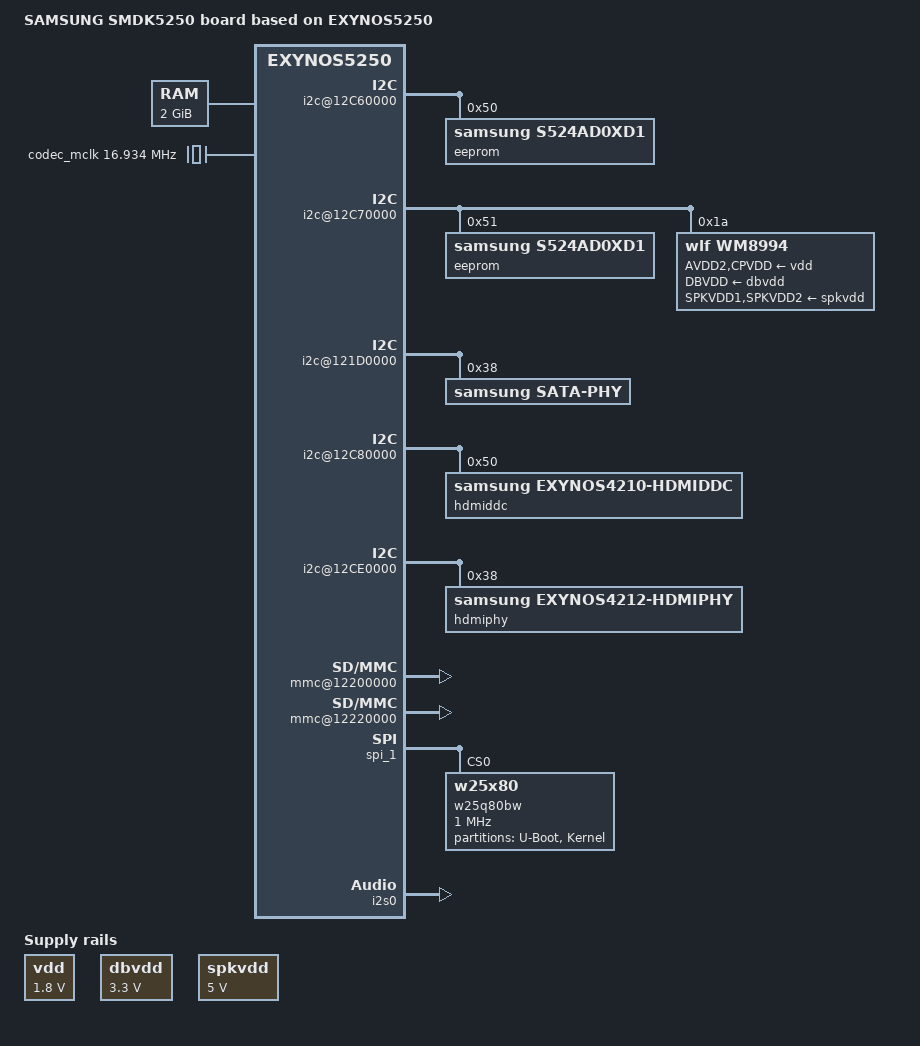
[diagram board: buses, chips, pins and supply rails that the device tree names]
/*
 * SAMSUNG SMDK5250 board device tree source
 *
 * Copyright (c) 2012 Samsung Electronics Co., Ltd.
 *		http://www.samsung.com
 *
 * This program is free software; you can redistribute it and/or modify
 * it under the terms of the GNU General Public License version 2 as
 * published by the Free Software Foundation.
*/

/dts-v1/;
#include "exynos5250.dtsi"

/ {
	model = "SAMSUNG SMDK5250 board based on EXYNOS5250";
	compatible = "samsung,smdk5250", "samsung,exynos5250";

	aliases {
	};

	memory {
		reg = <0x40000000 0x80000000>;
	};

	chosen {
		bootargs = "root=/dev/ram0 rw ramdisk=8192 initrd=0x41000000,8M console=ttySAC2,115200 init=/linuxrc";
	};

	i2c@12C60000 {
		samsung,i2c-sda-delay = <100>;
		samsung,i2c-max-bus-freq = <20000>;
		status = "okay";

		eeprom@50 {
			compatible = "samsung,s524ad0xd1";
			reg = <0x50>;
		};
	};

	vdd: fixed-regulator@0 {
		compatible = "regulator-fixed";
		regulator-name = "vdd-supply";
		regulator-min-microvolt = <1800000>;
		regulator-max-microvolt = <1800000>;
		regulator-always-on;
	};

	dbvdd: fixed-regulator@1 {
		compatible = "regulator-fixed";
		regulator-name = "dbvdd-supply";
		regulator-min-microvolt = <3300000>;
		regulator-max-microvolt = <3300000>;
		regulator-always-on;
	};

	spkvdd: fixed-regulator@2 {
		compatible = "regulator-fixed";
		regulator-name = "spkvdd-supply";
		regulator-min-microvolt = <5000000>;
		regulator-max-microvolt = <5000000>;
		regulator-always-on;
	};

	i2c@12C70000 {
		samsung,i2c-sda-delay = <100>;
		samsung,i2c-max-bus-freq = <20000>;
		status = "okay";

		eeprom@51 {
			compatible = "samsung,s524ad0xd1";
			reg = <0x51>;
		};

		wm8994: wm8994@1a {
			compatible = "wlf,wm8994";
			reg = <0x1a>;

			gpio-controller;
			#gpio-cells = <2>;

			clocks = <&codec_mclk>;
			clock-names = "MCLK1";

			AVDD2-supply = <&vdd>;
			CPVDD-supply = <&vdd>;
			DBVDD-supply = <&dbvdd>;
			SPKVDD1-supply = <&spkvdd>;
			SPKVDD2-supply = <&spkvdd>;
		};
	};

	i2c@121D0000 {
		samsung,i2c-sda-delay = <100>;
		samsung,i2c-max-bus-freq = <40000>;
		samsung,i2c-slave-addr = <0x38>;
		status = "okay";

		sata-phy {
			compatible = "samsung,sata-phy";
			reg = <0x38>;
		};
	};

	sata@122F0000 {
		samsung,sata-freq = <66>;
	};

	i2c@12C80000 {
		samsung,i2c-sda-delay = <100>;
		samsung,i2c-max-bus-freq = <66000>;
		status = "okay";

		hdmiddc@50 {
			compatible = "samsung,exynos4210-hdmiddc";
			reg = <0x50>;
		};
	};

	i2c@12CE0000 {
		samsung,i2c-sda-delay = <100>;
		samsung,i2c-max-bus-freq = <66000>;
		status = "okay";

		hdmiphy@38 {
			compatible = "samsung,exynos4212-hdmiphy";
			reg = <0x38>;
		};
	};

	mmc@12200000 {
		status = "okay";
		num-slots = <1>;
		supports-highspeed;
		broken-cd;
		card-detect-delay = <200>;
		samsung,dw-mshc-ciu-div = <3>;
		samsung,dw-mshc-sdr-timing = <2 3>;
		samsung,dw-mshc-ddr-timing = <1 2>;
		pinctrl-names = "default";
		pinctrl-0 = <&sd0_clk &sd0_cmd &sd0_bus4 &sd0_bus8>;

		slot@0 {
			reg = <0>;
			bus-width = <8>;
		};
	};

	mmc@12220000 {
		status = "okay";
		num-slots = <1>;
		supports-highspeed;
		card-detect-delay = <200>;
		samsung,dw-mshc-ciu-div = <3>;
		samsung,dw-mshc-sdr-timing = <2 3>;
		samsung,dw-mshc-ddr-timing = <1 2>;
		pinctrl-names = "default";
		pinctrl-0 = <&sd2_clk &sd2_cmd &sd2_cd &sd2_bus4>;

		slot@0 {
			reg = <0>;
			bus-width = <4>;
			disable-wp;
		};
	};

	spi_0: spi@12d20000 {
		status = "disabled";
	};

	spi_1: spi@12d30000 {
		status = "okay";

		w25q80bw@0 {
			#address-cells = <1>;
			#size-cells = <1>;
			compatible = "w25x80";
			reg = <0>;
			spi-max-frequency = <1000000>;

			controller-data {
				cs-gpio = <&gpa2 5 0>;
				samsung,spi-feedback-delay = <0>;
			};

			partition@0 {
				label = "U-Boot";
				reg = <0x0 0x40000>;
				read-only;
			};

			partition@40000 {
				label = "Kernel";
				reg = <0x40000 0xc0000>;
			};
		};
	};

	hdmi {
		hpd-gpio = <&gpx3 7 0>;
		hdmiphy-confs {
			nr-confs = <13>;
			conf0: conf0 {
				clock-frequency = <25200000>;
				conf =  /bits/ 8 <
					0x01 0x51 0x2A 0x75 0x40 0x01 0x00 0x08
					0x82 0x80 0xfc 0xd8 0x45 0xa0 0xac 0x80
					0x08 0x80 0x11 0x04 0x02 0x22 0x44 0x86
					0x54 0xf4 0x24 0x00 0x00 0x00 0x01 0x80
				>;
			};
			conf1: conf1 {
				clock-frequency = <27000000>;
				conf = /bits/ 8  <
					0x01 0xd1 0x22 0x51 0x40 0x08 0xfc 0x20
					0x98 0xa0 0xcb 0xd8 0x45 0xa0 0xac 0x80
					0x06 0x80 0x11 0x04 0x02 0x22 0x44 0x86
					0x54 0xe4 0x24 0x00 0x00 0x00 0x01 0x80
				>;
			};
			conf2: conf2 {
				clock-frequency = <27027000>;
				conf = /bits/ 8  <
					0x01 0xd1 0x2d 0x72 0x40 0x64 0x12 0x08
					0x43 0xa0 0x0e 0xd9 0x45 0xa0 0xac 0x80
					0x08 0x80 0x11 0x04 0x02 0x22 0x44 0x86
					0x54 0xe3 0x24 0x00 0x00 0x00 0x01 0x00
				>;
			};
			conf3: conf3 {
				clock-frequency = <36000000>;
				conf =  /bits/ 8 <
					0x01 0x51 0x2d 0x55 0x40 0x01 0x00 0x08
					0x82 0x80 0x0e 0xd9 0x45 0xa0 0xac 0x80
					0x08 0x80 0x11 0x04 0x02 0x22 0x44 0x86
					0x54 0xab 0x24 0x00 0x00 0x00 0x01 0x80
				>;
			};
			conf4: conf4 {
				clock-frequency = <40000000>;
				conf = /bits/ 8  <
					0x01 0x51 0x32 0x55 0x40 0x01 0x00 0x08
					0x82 0x80 0x2c 0xd9 0x45 0xa0 0xac 0x80
					0x08 0x80 0x11 0x04 0x02 0x22 0x44 0x86
					0x54 0x9a 0x24 0x00 0x00 0x00 0x01 0x80
				>;
			};
			conf5: conf5 {
				clock-frequency = <65000000>;
				conf = /bits/ 8  <
					0x01 0xd1 0x36 0x34 0x40 0x1e 0x0a 0x08
					0x82 0xa0 0x45 0xd9 0x45 0xa0 0xac 0x80
					0x08 0x80 0x11 0x04 0x02 0x22 0x44 0x86
					0x54 0xbd 0x24 0x01 0x00 0x00 0x01 0x80
				>;
			};
			conf6: conf6 {
				clock-frequency = <74176000>;
				conf = /bits/ 8  <
					0x01 0xd1 0x3e 0x35 0x40 0x5b 0xde 0x08
					0x82 0xa0 0x73 0xd9 0x45 0xa0 0xac 0x80
					0x56 0x80 0x11 0x04 0x02 0x22 0x44 0x86
					0x54 0xa6 0x24 0x01 0x00 0x00 0x01 0x80
				>;
			};
			conf7: conf7 {
				clock-frequency = <74250000>;
				conf = /bits/ 8  <
					0x01 0xd1 0x1f 0x10 0x40 0x40 0xf8 0x08
					0x81 0xa0 0xba 0xd8 0x45 0xa0 0xac 0x80
					0x3c 0x80 0x11 0x04 0x02 0x22 0x44 0x86
					0x54 0xa5 0x24 0x01 0x00 0x00 0x01 0x00
				>;
			};
			conf8: conf8 {
				clock-frequency = <83500000>;
				conf = /bits/ 8  <
					0x01 0xd1 0x23 0x11 0x40 0x0c 0xfb 0x08
					0x85 0xa0 0xd1 0xd8 0x45 0xa0 0xac 0x80
					0x08 0x80 0x11 0x04 0x02 0x22 0x44 0x86
					0x54 0x93 0x24 0x01 0x00 0x00 0x01 0x80
				>;
			};
			conf9: conf9 {
				clock-frequency = <106500000>;
				conf = /bits/ 8  <
					0x01 0xd1 0x2c 0x12 0x40 0x0c 0x09 0x08
					0x84 0xa0 0x0a 0xd9 0x45 0xa0 0xac 0x80
					0x08 0x80 0x11 0x04 0x02 0x22 0x44 0x86
					0x54 0x73 0x24 0x01 0x00 0x00 0x01 0x80
				>;
			};
			conf10: conf10 {
				clock-frequency = <108000000>;
				conf = /bits/ 8  <
					0x01 0x51 0x2d 0x15 0x40 0x01 0x00 0x08
					0x82 0x80 0x0e 0xd9 0x45 0xa0 0xac 0x80
					0x08 0x80 0x11 0x04 0x02 0x22 0x44 0x86
					0x54 0xc7 0x25 0x03 0x00 0x00 0x01 0x80
				>;
			};
			conf11: conf11 {
				clock-frequency = <146250000>;
				conf = /bits/ 8  <
					0x01 0xd1 0x3d 0x15 0x40 0x18 0xfd 0x08
					0x83 0xa0 0x6e 0xd9 0x45 0xa0 0xac 0x80
					0x08 0x80 0x11 0x04 0x02 0x22 0x44 0x86
					0x54 0x50 0x25 0x03 0x00 0x00 0x01 0x80
				>;
			};
			conf12: conf12 {
				clock-frequency = <148500000>;
				conf = /bits/ 8  <
					0x01 0xd1 0x1f 0x00 0x40 0x40 0xf8 0x08
					0x81 0xa0 0xba 0xd8 0x45 0xa0 0xac 0x80
					0x3c 0x80 0x11 0x04 0x02 0x22 0x44 0x86
					0x54 0x4b 0x25 0x03 0x00 0x00 0x01 0x00
				>;
			};
		};
	};

	codec@11000000 {
		samsung,mfc-r = <0x43000000 0x800000>;
		samsung,mfc-l = <0x51000000 0x800000>;
	};

	i2s0: i2s@03830000 {
		status = "okay";
	};

	sound {
		compatible = "samsung,smdk-wm8994";

		samsung,i2s-controller = <&i2s0>;
		samsung,audio-codec = <&wm8994>;
	};

	usb@12110000 {
		samsung,vbus-gpio = <&gpx2 6 0>;
	};

	dp-controller@145B0000 {
		samsung,color-space = <0>;
		samsung,dynamic-range = <0>;
		samsung,ycbcr-coeff = <0>;
		samsung,color-depth = <1>;
		samsung,link-rate = <0x0a>;
		samsung,lane-count = <4>;

		pinctrl-names = "default";
		pinctrl-0 = <&dp_hpd>;
		status = "okay";
	};

	fimd@14400000 {
		status = "okay";
		display-timings {
			native-mode = <&timing0>;
			timing0: timing@0 {
				/* 1280x800 */
				clock-frequency = <50000>;
				hactive = <1280>;
				vactive = <800>;
				hfront-porch = <4>;
				hback-porch = <4>;
				hsync-len = <4>;
				vback-porch = <4>;
				vfront-porch = <4>;
				vsync-len = <4>;
			};
		};
	};

	fixed-rate-clocks {
		xxti {
			compatible = "samsung,clock-xxti";
			clock-frequency = <24000000>;
		};

		codec_mclk: codec-mclk {
			compatible = "fixed-clock";
			#clock-cells = <0>;
			clock-frequency = <16934000>;
		};
	};
};
